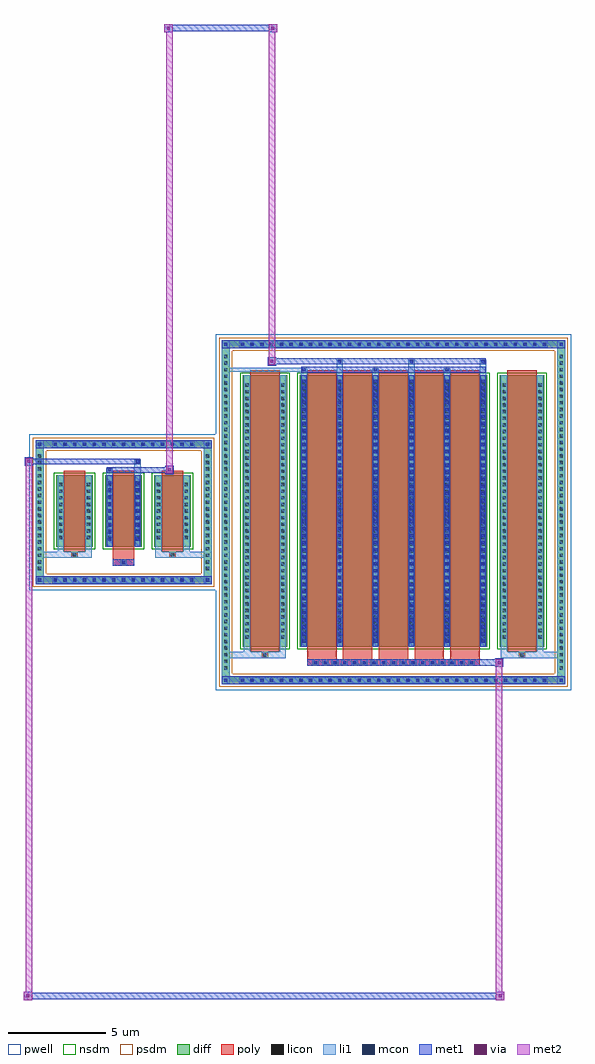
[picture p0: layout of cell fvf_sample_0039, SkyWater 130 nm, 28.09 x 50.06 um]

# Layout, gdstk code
import gdstk
lib = gdstk.Library(unit=1e-6, precision=1e-09)
def R(c, l, rs):  # rectangles x0, y0, x1, y1
    for r in rs: c.add(gdstk.rectangle(r[:2], r[2:], *l))
def A(c, l, x, y, w, h, nx, ny, dx, dy):  # array of equal rectangles
    R(c, l, [(x+i*dx, y+j*dy, x+i*dx+w, y+j*dy+h) for i in range(nx) for j in range(ny)])
def P(c, l, *ps):  # polygons
    for p in ps: c.add(gdstk.Polygon(p, *l))
pwell = (64, 44)
diff = (65, 20)
poly = (66, 20)
licon = (66, 44)
li1 = (67, 20)
mcon = (67, 44)
met1 = (68, 20)
via = (68, 44)
met2 = (69, 20)
nsdm = (93, 44)
psdm = (94, 20)

fvf_sample_0039 = lib.new_cell('fvf_sample_0039')
R(fvf_sample_0039, pwell, [(4.725,-9.135,22.967,9.135), (-4.825,-3.999,4.825,3.999)])
A(fvf_sample_0039, diff, 5.891, -8.825, 0.41, 0.41, 32, 2, 0.5, 17.24)
A(fvf_sample_0039, diff, 5.035, -8.195, 0.41, 0.41, 1, 48, 0, 0.34)
A(fvf_sample_0039, diff, 22.247, -8.195, 0.41, 0.41, 1, 48, 0, 0.34)
A(fvf_sample_0039, diff, -3.705, -3.689, 0.41, 0.41, 15, 2, 0.5, 6.968)
A(fvf_sample_0039, diff, -4.515, -3.095, 0.41, 0.41, 1, 18, 0, 0.34)
A(fvf_sample_0039, diff, 4.105, -3.095, 0.41, 0.41, 1, 18, 0, 0.34)
A(fvf_sample_0039, diff, -3.445, -1.767, 1.87, 3.65, 3, 1, 2.51, 0)
R(fvf_sample_0039, diff, [(5.891,-8.825,21.801,-8.415), (5.035,-8.195,5.445,8.195), (22.247,-8.195,22.657,8.195), (6.105,-6.904,8.391,7.02), (9.031,-6.904,18.661,7.02), (19.301,-6.904,21.587,7.02), (-3.705,-3.689,3.705,-3.279), (-4.515,-3.095,-4.105,3.095), (4.105,-3.095,4.515,3.095), (-3.705,3.279,3.705,3.689), (5.891,8.415,21.801,8.825)])
P(fvf_sample_0039, diff, [(4.515,3.689),(-4.515,3.689),(-4.515,-3.279),(-4.105,-3.279),(-4.105,3.279),(4.105,3.279),(4.105,-3.279),(-4.105,-3.279),(-4.515,-3.279),(-4.515,-3.689),(4.515,-3.689)],
  [(22.657,8.825),(5.035,8.825),(5.035,-8.415),(5.445,-8.415),(5.445,8.415),(22.247,8.415),(22.247,-8.415),(5.445,-8.415),(5.035,-8.415),(5.035,-8.825),(22.657,-8.825)])
A(fvf_sample_0039, poly, 9.681, -7.884, 0.33, 0.33, 17, 1, 0.5, 0)
A(fvf_sample_0039, poly, 9.421, -7.554, 1.506, 0.4, 5, 1, 1.836, 0)
A(fvf_sample_0039, poly, 9.421, -7.154, 1.506, 14.424, 5, 1, 1.836, 0)
A(fvf_sample_0039, poly, -3.055, -2.017, 1.09, 4.15, 3, 1, 2.51, 0)
R(fvf_sample_0039, poly, [(9.421,-7.884,18.271,-7.554), (7.083,-7.484,7.413,-7.154), (7.083,-7.484,7.413,-7.154), (20.279,-7.484,20.609,-7.154), (20.279,-7.484,20.609,-7.154), (6.495,-7.154,8.001,7.27), (19.691,-7.154,21.197,7.27), (-0.545,-2.748,0.545,-2.418), (-0.165,-2.748,0.165,-2.418), (-0.545,-2.418,0.545,-2.017), (-2.675,-2.347,-2.345,-2.017), (-2.675,-2.347,-2.345,-2.017), (2.345,-2.347,2.675,-2.017), (2.345,-2.347,2.675,-2.017)])
A(fvf_sample_0039, licon, 6.011, -8.705, 0.17, 0.17, 32, 2, 0.5, 17.24)
A(fvf_sample_0039, licon, 5.155, -8.075, 0.17, 0.17, 1, 48, 0, 0.34)
A(fvf_sample_0039, licon, 22.367, -8.075, 0.17, 0.17, 1, 48, 0, 0.34)
A(fvf_sample_0039, licon, 9.761, -7.804, 0.17, 0.17, 17, 1, 0.5, 0)
A(fvf_sample_0039, licon, 6.245, -6.487, 0.17, 0.17, 1, 39, 0, 0.34)
A(fvf_sample_0039, licon, 8.081, -6.487, 0.17, 0.17, 1, 39, 0, 0.34)
A(fvf_sample_0039, licon, 9.171, -6.487, 0.17, 0.17, 6, 39, 1.836, 0.34)
A(fvf_sample_0039, licon, 19.441, -6.487, 0.17, 0.17, 1, 39, 0, 0.34)
A(fvf_sample_0039, licon, 21.277, -6.487, 0.17, 0.17, 1, 39, 0, 0.34)
A(fvf_sample_0039, licon, -3.585, -3.569, 0.17, 0.17, 15, 2, 0.5, 6.968)
A(fvf_sample_0039, licon, -4.395, -2.975, 0.17, 0.17, 1, 18, 0, 0.34)
A(fvf_sample_0039, licon, 4.225, -2.975, 0.17, 0.17, 1, 18, 0, 0.34)
A(fvf_sample_0039, licon, -3.305, -1.387, 0.17, 0.17, 1, 9, 0, 0.34)
A(fvf_sample_0039, licon, -1.885, -1.387, 0.17, 0.17, 1, 9, 0, 0.34)
A(fvf_sample_0039, licon, -0.795, -1.387, 0.17, 0.17, 1, 9, 0, 0.34)
A(fvf_sample_0039, licon, 0.625, -1.387, 0.17, 0.17, 1, 9, 0, 0.34)
A(fvf_sample_0039, licon, 1.715, -1.387, 0.17, 0.17, 1, 9, 0, 0.34)
A(fvf_sample_0039, licon, 3.135, -1.387, 0.17, 0.17, 1, 9, 0, 0.34)
R(fvf_sample_0039, licon, [(7.163,-7.404,7.333,-7.234), (20.359,-7.404,20.529,-7.234), (-0.085,-2.668,0.085,-2.498), (-2.595,-2.267,-2.425,-2.097), (2.425,-2.267,2.595,-2.097)])
A(fvf_sample_0039, li1, 5.931, -8.785, 0.33, 0.33, 32, 2, 0.5, 17.24)
A(fvf_sample_0039, li1, 5.075, -8.155, 0.33, 0.33, 1, 48, 0, 0.34)
A(fvf_sample_0039, li1, 22.287, -8.155, 0.33, 0.33, 1, 48, 0, 0.34)
A(fvf_sample_0039, li1, 9.681, -7.884, 0.33, 0.33, 17, 1, 0.5, 0)
A(fvf_sample_0039, li1, 9.091, -6.904, 0.33, 13.924, 6, 1, 1.836, 0)
A(fvf_sample_0039, li1, 9.171, -6.687, 0.17, 0.17, 6, 38, 1.836, 0.36)
A(fvf_sample_0039, li1, 9.171, -6.687, 0.17, 13.49, 6, 1, 1.836, 0)
A(fvf_sample_0039, li1, 6.165, -6.567, 0.33, 0.33, 1, 39, 0, 0.34)
A(fvf_sample_0039, li1, 8.001, -6.567, 0.33, 0.33, 1, 39, 0, 0.34)
A(fvf_sample_0039, li1, 9.091, -6.567, 0.33, 0.33, 6, 39, 1.836, 0.34)
A(fvf_sample_0039, li1, 19.361, -6.567, 0.33, 0.33, 1, 39, 0, 0.34)
A(fvf_sample_0039, li1, 21.197, -6.567, 0.33, 0.33, 1, 39, 0, 0.34)
A(fvf_sample_0039, li1, -3.665, -3.649, 0.33, 0.33, 15, 2, 0.5, 6.968)
A(fvf_sample_0039, li1, -4.475, -3.055, 0.33, 0.33, 1, 18, 0, 0.34)
A(fvf_sample_0039, li1, 4.145, -3.055, 0.33, 0.33, 1, 18, 0, 0.34)
A(fvf_sample_0039, li1, -3.385, -1.467, 0.33, 0.33, 1, 9, 0, 0.34)
A(fvf_sample_0039, li1, -1.965, -1.467, 0.33, 0.33, 1, 9, 0, 0.34)
A(fvf_sample_0039, li1, -0.875, -1.467, 0.33, 0.33, 1, 9, 0, 0.34)
A(fvf_sample_0039, li1, -0.795, -1.467, 0.17, 0.17, 1, 9, 0, 0.36)
A(fvf_sample_0039, li1, 0.545, -1.467, 0.33, 0.33, 1, 9, 0, 0.34)
A(fvf_sample_0039, li1, 0.625, -1.467, 0.17, 0.17, 1, 9, 0, 0.36)
A(fvf_sample_0039, li1, 1.635, -1.467, 0.33, 0.33, 1, 9, 0, 0.34)
A(fvf_sample_0039, li1, 3.055, -1.467, 0.33, 0.33, 1, 9, 0, 0.34)
A(fvf_sample_0039, li1, 9.091, 7.02, 0.33, 0.375, 3, 1, 3.672, 0)
A(fvf_sample_0039, li1, 10.927, 7.02, 0.33, 0.805, 3, 1, 3.672, 0)
A(fvf_sample_0039, li1, 9.171, 7.225, 0.17, 0.17, 3, 1, 3.672, 0)
A(fvf_sample_0039, li1, 11.007, 7.655, 0.17, 0.17, 3, 1, 3.672, 0)
R(fvf_sample_0039, li1, [(5.035,-8.825,5.445,-8.415), (22.247,-8.825,22.657,-8.415), (5.931,-8.785,21.761,-8.455), (5.155,-8.705,5.325,-8.535), (5.155,-8.705,5.325,-8.535), (22.367,-8.705,22.537,-8.535), (22.367,-8.705,22.537,-8.535), (5.035,-8.415,5.445,8.415), (22.247,-8.415,22.657,8.415), (5.035,-7.484,7.083,-7.154), (6.165,-7.484,6.495,-6.904), (6.165,-7.484,7.083,-7.154), (7.083,-7.484,7.413,-7.154), (7.413,-7.484,8.331,-7.154), (8.001,-7.484,8.331,-6.904), (19.361,-7.484,19.691,-6.904), (19.361,-7.484,20.279,-7.154), (20.279,-7.484,20.609,-7.154), (20.279,-7.484,22.657,-7.154), (20.609,-7.484,21.527,-7.154), (21.197,-7.484,21.527,-6.904), (6.165,-6.904,6.495,7.02), (8.001,-6.904,8.331,7.02), (19.361,-6.904,19.691,7.02), (21.197,-6.904,21.527,7.02), (-4.515,-3.689,-4.105,-3.279), (4.105,-3.689,4.515,-3.279), (-3.665,-3.649,3.665,-3.319), (-4.395,-3.569,-4.225,-3.399), (-4.395,-3.569,-4.225,-3.399), (4.225,-3.569,4.395,-3.399), (4.225,-3.569,4.395,-3.399), (-4.515,-3.279,-4.105,3.279), (4.105,-3.279,4.515,3.279), (-0.165,-2.748,0.165,-2.418), (-4.515,-2.347,-2.675,-2.017), (-3.385,-2.347,-2.675,-2.017), (-3.385,-2.347,-3.055,-1.767), (-2.675,-2.347,-2.345,-2.017), (-2.345,-2.347,-1.635,-2.017), (-1.965,-2.347,-1.635,-1.767), (1.635,-2.347,2.345,-2.017), (1.635,-2.347,1.965,-1.767), (2.345,-2.347,2.675,-2.017), (2.345,-2.347,4.515,-2.017), (2.675,-2.347,3.385,-2.017), (3.055,-2.347,3.385,-1.767), (-3.385,-1.767,-3.055,1.883), (-1.965,-1.767,-1.635,1.883), (-0.875,-1.767,-0.545,1.883), (0.545,-1.767,0.875,1.883), (1.635,-1.767,1.965,1.883), (3.055,-1.767,3.385,1.883), (-0.795,-1.467,-0.625,1.583), (0.625,-1.467,0.795,1.583), (-0.875,1.883,-0.545,2.258), (0.545,1.883,0.875,2.688), (-0.795,2.088,-0.625,2.258), (0.625,2.518,0.795,2.688), (-4.515,3.279,-4.105,3.689), (4.105,3.279,4.515,3.689), (-3.665,3.319,3.665,3.649), (-4.395,3.399,-4.225,3.569), (-4.395,3.399,-4.225,3.569), (4.225,3.399,4.395,3.569), (4.225,3.399,4.395,3.569), (9.111,7.165,9.401,7.455), (5.035,7.21,9.111,7.41), (9.171,7.225,9.341,7.395), (5.035,8.415,5.445,8.825), (22.247,8.415,22.657,8.825), (5.931,8.455,21.761,8.785), (5.155,8.535,5.325,8.705), (5.155,8.535,5.325,8.705), (22.367,8.535,22.537,8.705), (22.367,8.535,22.537,8.705)])
A(fvf_sample_0039, mcon, 6.011, -8.705, 0.17, 0.17, 32, 2, 0.5, 17.24)
A(fvf_sample_0039, mcon, 9.761, -7.804, 0.17, 0.17, 17, 1, 0.5, 0)
A(fvf_sample_0039, mcon, 9.171, -6.687, 0.17, 0.17, 6, 38, 1.836, 0.36)
A(fvf_sample_0039, mcon, -3.585, -3.569, 0.17, 0.17, 15, 2, 0.5, 6.968)
A(fvf_sample_0039, mcon, -0.795, -1.467, 0.17, 0.17, 1, 9, 0, 0.36)
A(fvf_sample_0039, mcon, 0.625, -1.467, 0.17, 0.17, 1, 9, 0, 0.36)
A(fvf_sample_0039, mcon, 9.171, 7.225, 0.17, 0.17, 3, 1, 3.672, 0)
A(fvf_sample_0039, mcon, 11.007, 7.655, 0.17, 0.17, 3, 1, 3.672, 0)
R(fvf_sample_0039, mcon, [(5.155,-8.705,5.325,-8.535), (22.367,-8.705,22.537,-8.535), (-4.395,-3.569,-4.225,-3.399), (4.225,-3.569,4.395,-3.399), (-0.085,-2.668,0.085,-2.498), (-0.795,2.088,-0.625,2.258), (0.625,2.518,0.795,2.688), (-4.395,3.399,-4.225,3.569), (4.225,3.399,4.395,3.569), (9.171,7.225,9.341,7.395), (5.155,8.535,5.325,8.705), (22.367,8.535,22.537,8.705)])
A(fvf_sample_0039, met1, 5.951, -8.765, 0.29, 0.29, 32, 2, 0.5, 17.24)
A(fvf_sample_0039, met1, 9.701, -7.864, 0.29, 0.29, 17, 1, 0.5, 0)
A(fvf_sample_0039, met1, 9.111, -6.904, 0.29, 13.924, 6, 1, 1.836, 0)
A(fvf_sample_0039, met1, 9.111, -6.747, 0.29, 0.29, 6, 38, 1.836, 0.36)
A(fvf_sample_0039, met1, -3.645, -3.629, 0.29, 0.29, 15, 2, 0.5, 6.968)
A(fvf_sample_0039, met1, -0.855, -1.527, 0.29, 0.29, 1, 9, 0, 0.36)
A(fvf_sample_0039, met1, 0.565, -1.527, 0.29, 0.29, 1, 9, 0, 0.36)
A(fvf_sample_0039, met1, 9.111, 7.165, 0.29, 0.29, 3, 1, 3.672, 0)
A(fvf_sample_0039, met1, 10.947, 7.595, 0.29, 0.29, 3, 1, 3.672, 0)
R(fvf_sample_0039, met1, [(-5.119,-25.022,-4.689,-24.592), (19.106,-25.022,19.536,-24.592), (-5.119,-24.972,19.536,-24.642), (-5.119,-24.642,-4.689,-24.592), (19.106,-24.642,19.536,-24.592), (5.035,-8.825,5.445,-8.415), (5.035,-8.825,5.445,-8.415), (5.445,-8.825,22.247,-8.415), (22.247,-8.825,22.657,-8.415), (22.247,-8.825,22.657,-8.415), (5.095,-8.765,5.385,-8.475), (22.307,-8.765,22.597,-8.475), (19.056,-7.934,19.486,-7.504), (9.421,-7.884,18.271,-7.554), (18.271,-7.884,19.056,-7.554), (-4.515,-3.689,-4.105,-3.279), (-4.515,-3.689,-4.105,-3.279), (-4.105,-3.689,4.105,-3.279), (4.105,-3.689,4.515,-3.279), (4.105,-3.689,4.515,-3.279), (-4.455,-3.629,-4.165,-3.339), (4.165,-3.629,4.455,-3.339), (-0.545,-2.748,0.545,-2.418), (-0.145,-2.728,0.145,-2.438), (-0.855,-1.767,-0.565,1.883), (0.565,-1.767,0.855,1.883), (2.14,1.958,2.57,2.388), (-0.855,2.028,-0.565,2.318), (-0.855,2.028,0.855,2.318), (0.855,2.028,2.14,2.318), (-5.069,2.388,-4.639,2.818), (-4.639,2.458,-0.855,2.748), (-0.855,2.458,0.855,2.748), (0.565,2.458,0.855,2.748), (-4.515,3.279,-4.105,3.689), (-4.515,3.279,-4.105,3.689), (-4.105,3.279,4.105,3.689), (4.105,3.279,4.515,3.689), (4.105,3.279,4.515,3.689), (-4.455,3.339,-4.165,3.629), (4.165,3.339,4.455,3.629), (9.111,7.165,9.401,7.455), (9.111,7.165,18.581,7.455), (7.396,7.525,7.826,7.955), (7.826,7.595,9.111,7.885), (9.111,7.595,18.581,7.885), (5.035,8.415,5.445,8.825), (5.035,8.415,5.445,8.825), (5.445,8.415,22.247,8.825), (22.247,8.415,22.657,8.825), (22.247,8.415,22.657,8.825), (5.095,8.475,5.385,8.765), (22.307,8.475,22.597,8.765), (2.09,24.613,2.52,25.043), (7.446,24.613,7.876,25.043), (2.09,24.663,7.876,24.993), (2.09,24.993,2.52,25.043), (7.446,24.993,7.876,25.043)])
R(fvf_sample_0039, via, [(-4.979,-24.882,-4.829,-24.732), (19.246,-24.882,19.396,-24.732), (19.196,-7.794,19.346,-7.644), (2.28,2.098,2.43,2.248), (-4.929,2.528,-4.779,2.678), (7.536,7.665,7.686,7.815), (2.23,24.753,2.38,24.903), (7.586,24.753,7.736,24.903)])
R(fvf_sample_0039, met2, [(-5.119,-25.022,-4.689,-24.592), (-5.019,-25.022,-4.689,2.438), (19.106,-25.022,19.536,-24.592), (19.106,-25.022,19.436,-7.884), (-5.069,-24.972,-4.739,-24.642), (19.156,-24.972,19.486,-24.642), (19.106,-7.884,19.436,-7.554), (2.19,2.008,2.52,2.338), (2.19,2.338,2.52,25.043), (-5.019,2.438,-4.689,2.768), (7.446,7.575,7.776,7.905), (7.446,7.905,7.776,25.043), (2.09,24.613,2.52,25.043), (7.446,24.613,7.876,25.043), (2.14,24.663,2.47,24.993), (7.496,24.663,7.826,24.993)])
A(fvf_sample_0039, nsdm, -3.575, -1.897, 2.13, 3.91, 3, 1, 2.51, 0)
R(fvf_sample_0039, nsdm, [(5.975,-7.034,8.521,7.15), (8.901,-7.034,18.791,7.15), (19.171,-7.034,21.717,7.15)])
P(fvf_sample_0039, psdm, [(4.645,3.819),(-4.645,3.819),(-4.645,-3.149),(-3.975,-3.149),(-3.975,3.149),(3.975,3.149),(3.975,-3.149),(-3.975,-3.149),(-4.645,-3.149),(-4.645,-3.819),(4.645,-3.819)],
  [(22.787,8.955),(4.905,8.955),(4.905,-8.285),(5.575,-8.285),(5.575,8.285),(22.117,8.285),(22.117,-8.285),(5.575,-8.285),(4.905,-8.285),(4.905,-8.955),(22.787,-8.955)])

lib.write_gds('fvf_sample_0039.gds')
